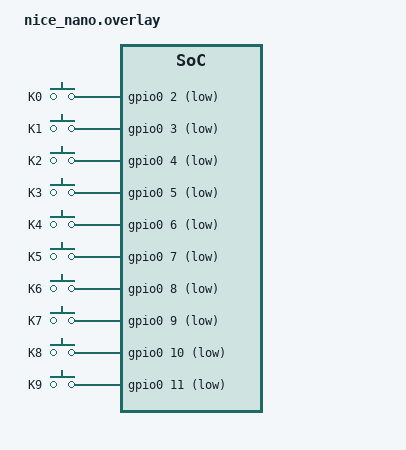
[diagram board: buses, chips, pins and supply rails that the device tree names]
/ {
    gpio_keys {
        compatible = "gpio-keys";

        // Row 1 (left → right)
        key0: key_0 { gpios = <&gpio0 2  (GPIO_PULL_UP | GPIO_ACTIVE_LOW)>; label = "K0"; };
        key1: key_1 { gpios = <&gpio0 3  (GPIO_PULL_UP | GPIO_ACTIVE_LOW)>; label = "K1"; };
        key2: key_2 { gpios = <&gpio0 4  (GPIO_PULL_UP | GPIO_ACTIVE_LOW)>; label = "K2"; };
        key3: key_3 { gpios = <&gpio0 5  (GPIO_PULL_UP | GPIO_ACTIVE_LOW)>; label = "K3"; };
        key4: key_4 { gpios = <&gpio0 6  (GPIO_PULL_UP | GPIO_ACTIVE_LOW)>; label = "K4"; };

        // Row 2 (left → right)
        key5: key_5 { gpios = <&gpio0 7  (GPIO_PULL_UP | GPIO_ACTIVE_LOW)>; label = "K5"; };
        key6: key_6 { gpios = <&gpio0 8  (GPIO_PULL_UP | GPIO_ACTIVE_LOW)>; label = "K6"; };
        key7: key_7 { gpios = <&gpio0 9  (GPIO_PULL_UP | GPIO_ACTIVE_LOW)>; label = "K7"; };
        key8: key_8 { gpios = <&gpio0 10 (GPIO_PULL_UP | GPIO_ACTIVE_LOW)>; label = "K8"; };
        key9: key_9 { gpios = <&gpio0 11 (GPIO_PULL_UP | GPIO_ACTIVE_LOW)>; label = "K9"; };
    };
};
